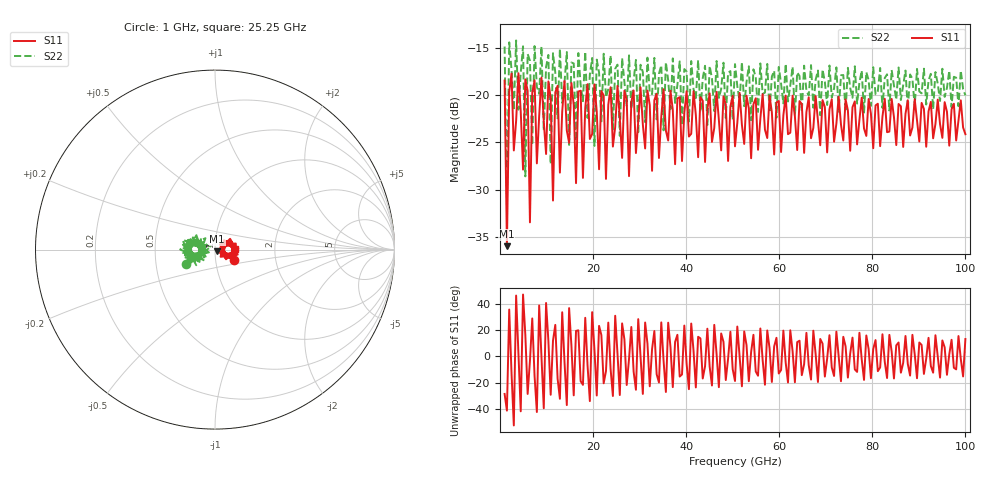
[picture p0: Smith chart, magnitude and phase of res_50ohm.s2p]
!Created with skrf (http://scikit-rf.org).
# GHz S RI R 50.0
!freq ReS11 ImS11 ReS21 ImS21 ReS12 ImS12 ReS22 ImS22
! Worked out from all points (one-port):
!   201 points, 1 GHz to 100 GHz, reference 50 ohm
!   lowest |S11| = -36.0 dB at 1.495 GHz (marker M1), VSWR 1.03, Z = 51.2 - j1.07 ohm
!   |S11| at or under -10 dB: start of sweep to end of sweep
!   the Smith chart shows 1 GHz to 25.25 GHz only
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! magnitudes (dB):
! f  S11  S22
! 1 GHz  -18.5  -14.9
! 1.495 GHz  -36.0  -31.6
! 1.99 GHz  -19.7  -14.4
! 2.485 GHz  -17.7  -17.3
! 4.96 GHz  -27.9  -14.9
! 5.455 GHz  -18.4  -28.6
! 6.445 GHz  -33.4  -16.4
! 6.94 GHz  -19.8  -25.3
! 7.435 GHz  -18.5  -14.8
! 7.93 GHz  -27.2  -19.1
! 10.4 GHz  -18.6  -15.8
! 10.9 GHz  -20.4  -27.3
! 11.39 GHz  -31.1  -15.6
! 12.38 GHz  -19.0  -22.5
! 17.34 GHz  -19.5  -18.9
! 17.83 GHz  -28.8  -20.7
! 18.82 GHz  -18.9  -22.4
! 34.16 GHz  -26.7  -17.8
! 50.5 GHz  -25.4  -16.7
! 67.33 GHz  -23.5  -21.3
! 83.67 GHz  -23.9  -21.6
! 100 GHz  -24.1  -20.0
